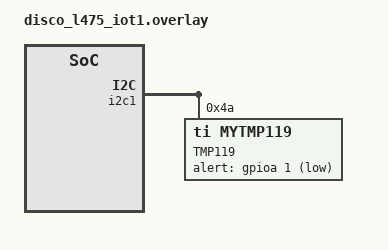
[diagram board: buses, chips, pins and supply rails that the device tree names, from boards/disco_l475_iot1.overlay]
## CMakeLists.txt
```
# SPDX-License-Identifier: Apache-2.0

cmake_minimum_required(VERSION 3.20.0)
find_package(Zephyr REQUIRED HINTS $ENV{ZEPHYR_BASE})
project(TMP119_with_interrupt)

FILE(GLOB app_sources src/*.c)
target_sources(app PRIVATE ${app_sources})
```

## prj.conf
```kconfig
# Enable logs
CONFIG_LOG=y
CONFIG_UART_CONSOLE=y
CONFIG_SERIAL=y
CONFIG_STDOUT_CONSOLE=y
# CONFIG_SENSOR_LOG_LEVEL=4

# Enable I2C drivers
CONFIG_I2C=y

# Enable Sensor drivers
CONFIG_SENSOR=y
CONFIG_MYTMP119=y
CONFIG_TMP119_ALERT_INTERRUPTS=y
CONFIG_SENSOR_INIT_PRIORITY=91

# Enable Shell Command for I2C
CONFIG_SHELL=y
CONFIG_I2C_SHELL=y
CONFIG_SHELL_BACKEND_SERIAL=y

CONFIG_ASSERT=y
CONFIG_CBPRINTF_FP_SUPPORT=y
```

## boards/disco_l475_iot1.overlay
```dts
&i2c1 {
    status = "okay";
    tmp119@4a {
        compatible = "ti,mytmp119";
        reg = <0x4a>;
        label = "TMP119";
        odr = <0x200>;  // TMP119_DT_ODR_1000_MS
        alert-gpios = <&gpioa 1 (GPIO_PULL_UP | GPIO_ACTIVE_LOW)>;
        status = "okay";
    };
};
```

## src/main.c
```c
#include <zephyr/kernel.h>
#include <zephyr/device.h>
#include <zephyr/drivers/sensor.h>
#include <zephyr/drivers/sensor/mytmp119.h>
#include <zephyr/dt-bindings/sensor/mytmp119.h>
#include <zephyr/logging/log.h>

LOG_MODULE_REGISTER(tmp119_sample, LOG_LEVEL_DBG);

#define TMP119_NODE DT_COMPAT_GET_ANY_STATUS_OKAY(ti_mytmp119)

const struct device *dev = DEVICE_DT_GET(TMP119_NODE);
struct sensor_value temp;

// Semaphore for ALERT interrupt
K_SEM_DEFINE(alert_sem, 0, 1);

// Work item for temperature data handling
static struct k_work temp_work;

/**
 * @brief Initialize TMP119
 */
int init_main_tmp119(const struct device *dev)
{
	if (!device_is_ready(dev)) {
		LOG_ERR("TMP119 device not found or not ready.");
		return -ENODEV;
	}
	return 0;
}

/**
 * @brief Configure TMP119
 */
void configure_tmp119(const struct device *dev)
{
	struct sensor_value freq_val = {1, 0};       // 1 Hz sampling frequency
	struct sensor_value oversample_val = {8, 0}; // 8x oversampling

	if (sensor_attr_set(dev, SENSOR_CHAN_AMBIENT_TEMP, SENSOR_ATTR_TMP119_SOFT_RESET, NULL) < 0) {
		LOG_ERR("Failed to SOFT RESET");
	}
	k_sleep(K_MSEC(10));

	if (sensor_attr_set(dev, SENSOR_CHAN_AMBIENT_TEMP, SENSOR_ATTR_SAMPLING_FREQUENCY, &freq_val) < 0) {
		LOG_ERR("Failed to set sampling frequency");
	}

	if (sensor_attr_set(dev, SENSOR_CHAN_AMBIENT_TEMP, SENSOR_ATTR_OVERSAMPLING, &oversample_val) < 0) {
		LOG_ERR("Failed to set oversampling");
	}

	if (sensor_attr_set(dev, SENSOR_CHAN_AMBIENT_TEMP, SENSOR_ATTR_TMP119_CONTINUOUS_CONVERSION_MODE, NULL) < 0) {
		LOG_ERR("Failed to set continuous conversion mode");
	}

	if (sensor_attr_set(dev, SENSOR_CHAN_AMBIENT_TEMP, SENSOR_ATTR_ALERT, NULL) < 0) {
		LOG_ERR("Failed to enable ALERT mode");
	}
}

/**
 * @brief Work handler for processing temperature
 */
static void temp_work_handler(struct k_work *work)
{
	ARG_UNUSED(work);

	if (sensor_sample_fetch(dev) < 0) {
		LOG_ERR("Failed to fetch sample from TMP119 in work");
		return;
	}

	if (sensor_channel_get(dev, SENSOR_CHAN_AMBIENT_TEMP, &temp) < 0) {
		LOG_ERR("Failed to get temperature readings in work");
		return;
	}

	LOG_INF("Workqueue: Temperature = %d.%02d °C", temp.val1, temp.val2);
}

/**
 * @brief Data acquisition thread
 */
void data_thread(void)
{
	while (1) {
		// Wait until interrupt gives semaphore
		k_sem_take(&alert_sem, K_FOREVER);

		// Submit work to system workqueue
		k_work_submit(&temp_work);
	}
}

K_THREAD_DEFINE(data_thread_id, 1024, data_thread, NULL, NULL, NULL,
		5, 0, 0);

/**
 * @brief Interrupt callback from TMP119 ALERT
 */
static void tmp119_trigger_handler(const struct device *dev,
				   const struct sensor_trigger *trig)
{
	LOG_DBG("TMP119 ALERT Interrupt Received");
	k_sem_give(&alert_sem);
}

/**
 * @brief Main
 */
int main(void)
{
	LOG_INF("TMP119 Sensor Sample with Thread + Work");

	if (init_main_tmp119(dev) < 0) {
		return -1;
	}

	configure_tmp119(dev);

	// Initialize work item
	k_work_init(&temp_work, temp_work_handler);

	// Set up trigger (data ready interrupt)
	struct sensor_trigger trig = {
		.type = SENSOR_TRIG_DATA_READY,
		.chan = SENSOR_CHAN_AMBIENT_TEMP
	};

	if (sensor_trigger_set(dev, &trig, tmp119_trigger_handler) < 0) {
		LOG_ERR("Failed to set TMP119 trigger");
		return -1;
	}

	LOG_INF("Initialization complete, waiting for interrupts...");

	return 0; // main thread exits, data_thread keeps running
}
```
